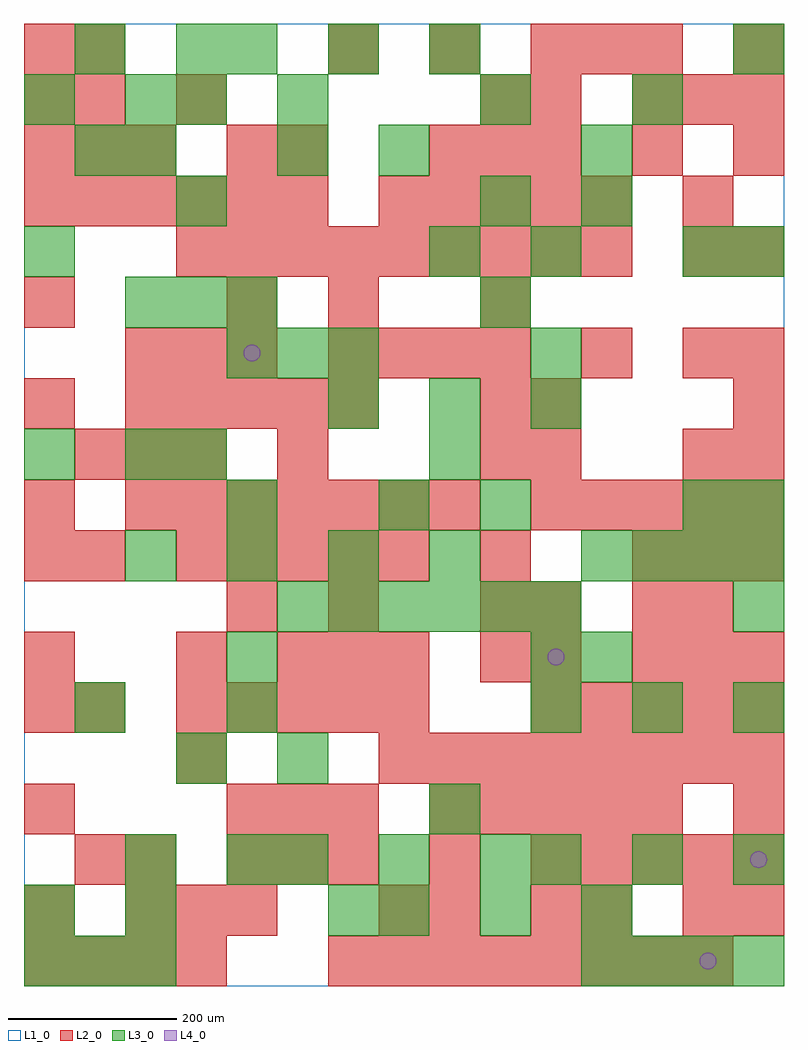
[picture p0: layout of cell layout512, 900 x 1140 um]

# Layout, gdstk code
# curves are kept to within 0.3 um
import gdstk
lib = gdstk.Library(unit=1e-6, precision=1e-09)
def R(c, l, rs):  # rectangles x0, y0, x1, y1
    for r in rs: c.add(gdstk.rectangle(r[:2], r[2:], *l))
def A(c, l, x, y, w, h, nx, ny, dx, dy):  # array of equal rectangles
    R(c, l, [(x+i*dx, y+j*dy, x+i*dx+w, y+j*dy+h) for i in range(nx) for j in range(ny)])
def P(c, l, *ps):  # polygons
    for p in ps: c.add(gdstk.Polygon(p, *l))
L1_0 = (1, 0)
L2_0 = (2, 0)
L3_0 = (3, 0)
L4_0 = (4, 0)

layout512 = lib.new_cell('layout512')
R(layout512, L1_0, [(0,0,900,1140)])
A(layout512, L2_0, 0, 0, 60, 60, 4, 1, 60, 0)
A(layout512, L2_0, 360, 0, 60, 60, 8, 1, 60, 0)
A(layout512, L2_0, 0, 60, 60, 60, 1, 3, 0, 120)
A(layout512, L2_0, 120, 60, 60, 60, 3, 2, 60, 660)
A(layout512, L2_0, 60, 120, 60, 60, 1, 3, 0, 180)
A(layout512, L2_0, 240, 120, 60, 60, 3, 2, 60, 60)
A(layout512, L2_0, 600, 120, 60, 60, 5, 2, 60, 180)
A(layout512, L2_0, 480, 180, 60, 60, 5, 1, 60, 0)
A(layout512, L2_0, 420, 240, 60, 60, 8, 1, 60, 0)
A(layout512, L2_0, 180, 300, 60, 60, 5, 2, 60, 180)
A(layout512, L2_0, 300, 360, 60, 60, 3, 1, 60, 0)
A(layout512, L2_0, 540, 360, 60, 60, 1, 3, 0, 60)
A(layout512, L2_0, 720, 360, 60, 60, 3, 2, 60, 120)
A(layout512, L2_0, 0, 540, 60, 60, 1, 3, 0, 120)
A(layout512, L2_0, 120, 540, 60, 60, 7, 1, 60, 0)
A(layout512, L2_0, 600, 540, 60, 60, 5, 1, 60, 0)
A(layout512, L2_0, 60, 600, 60, 60, 3, 1, 60, 0)
A(layout512, L2_0, 780, 600, 60, 60, 1, 3, 0, 120)
A(layout512, L2_0, 840, 600, 60, 60, 1, 3, 0, 60)
A(layout512, L2_0, 120, 660, 60, 60, 5, 1, 60, 0)
A(layout512, L2_0, 360, 720, 60, 60, 4, 1, 60, 0)
A(layout512, L2_0, 180, 840, 60, 60, 9, 1, 60, 0)
A(layout512, L2_0, 840, 840, 60, 60, 1, 3, 0, 120)
A(layout512, L2_0, 0, 900, 60, 60, 6, 1, 60, 0)
A(layout512, L2_0, 420, 900, 60, 60, 5, 1, 60, 0)
A(layout512, L2_0, 0, 960, 60, 60, 3, 1, 60, 0)
A(layout512, L2_0, 480, 960, 60, 60, 3, 1, 60, 0)
A(layout512, L2_0, 720, 1020, 60, 60, 3, 1, 60, 0)
A(layout512, L2_0, 360, 1080, 60, 60, 3, 1, 120, 0)
R(layout512, L2_0, [(420,60,480,120), (480,60,540,120), (600,60,660,120), (660,60,720,120), (780,60,840,120), (840,60,900,120), (120,120,180,180), (480,120,540,180), (840,180,900,240), (180,240,240,300), (0,360,60,420), (180,360,240,420), (600,360,660,420), (240,420,300,480), (360,420,420,480), (600,420,660,480), (720,420,780,480), (780,420,840,480), (0,480,60,540), (300,600,360,660), (540,600,600,660), (600,600,660,660), (540,660,600,720), (600,660,660,720), (660,720,720,780), (240,780,300,840), (360,780,420,840), (540,780,600,840), (780,900,840,960), (240,960,300,1020), (300,960,360,1020), (720,960,780,1020), (0,1020,60,1080), (60,1020,120,1080), (180,1020,240,1080), (540,1020,600,1080), (600,1020,660,1080), (0,1080,60,1140), (60,1080,120,1140), (660,1080,720,1140), (720,1080,780,1140)])
A(layout512, L3_0, 0, 0, 60, 60, 3, 1, 60, 0)
A(layout512, L3_0, 660, 0, 60, 60, 4, 2, 60, 480)
A(layout512, L3_0, 420, 60, 60, 60, 3, 1, 120, 0)
A(layout512, L3_0, 300, 120, 60, 60, 3, 1, 120, 0)
A(layout512, L3_0, 600, 120, 60, 60, 3, 2, 120, 180)
A(layout512, L3_0, 300, 420, 60, 60, 6, 1, 60, 0)
A(layout512, L3_0, 120, 480, 60, 60, 4, 1, 120, 0)
A(layout512, L3_0, 360, 660, 60, 60, 3, 1, 120, 0)
A(layout512, L3_0, 240, 720, 60, 60, 3, 1, 60, 0)
A(layout512, L3_0, 120, 780, 60, 60, 3, 1, 60, 0)
A(layout512, L3_0, 540, 780, 60, 60, 1, 3, 0, 120)
A(layout512, L3_0, 240, 1080, 60, 60, 3, 1, 120, 0)
R(layout512, L3_0, [(0,60,60,120), (120,60,180,120), (360,60,420,120), (120,120,180,180), (240,120,300,180), (480,180,540,240), (180,240,240,300), (300,240,360,300), (60,300,120,360), (240,300,300,360), (240,360,300,420), (600,360,660,420), (660,360,720,420), (840,420,900,480), (240,540,300,600), (420,540,480,600), (540,540,600,600), (780,540,840,600), (840,540,900,600), (0,600,60,660), (120,600,180,660), (180,600,240,660), (480,600,540,660), (600,720,660,780), (0,840,60,900), (480,840,540,900), (600,840,660,900), (780,840,840,900), (840,840,900,900), (180,900,240,960), (660,900,720,960), (60,960,120,1020), (120,960,180,1020), (300,960,360,1020), (420,960,480,1020), (660,960,720,1020), (0,1020,60,1080), (120,1020,180,1080), (180,1020,240,1080), (300,1020,360,1080), (720,1020,780,1080), (60,1080,120,1140), (180,1080,240,1140), (840,1080,900,1140)])
P(layout512, L4_0, [(280,750),(279.239,753.827),(277.071,757.071),(273.827,759.239),(270,760),(266.173,759.239),(262.929,757.071),(260.761,753.827),(260,750),(260.761,746.173),(262.929,742.929),(266.173,740.761),(270,740),(273.827,740.761),(277.071,742.929),(279.239,746.173)],
  [(640,390),(639.239,393.827),(637.071,397.071),(633.827,399.239),(630,400),(626.173,399.239),(622.929,397.071),(620.761,393.827),(620,390),(620.761,386.173),(622.929,382.929),(626.173,380.761),(630,380),(633.827,380.761),(637.071,382.929),(639.239,386.173)],
  [(820,30),(819.239,33.827),(817.071,37.071),(813.827,39.239),(810,40),(806.173,39.239),(802.929,37.071),(800.761,33.827),(800,30),(800.761,26.173),(802.929,22.929),(806.173,20.761),(810,20),(813.827,20.761),(817.071,22.929),(819.239,26.173)],
  [(880,150),(879.239,153.827),(877.071,157.071),(873.827,159.239),(870,160),(866.173,159.239),(862.929,157.071),(860.761,153.827),(860,150),(860.761,146.173),(862.929,142.929),(866.173,140.761),(870,140),(873.827,140.761),(877.071,142.929),(879.239,146.173)])

lib.write_gds('layout512.gds')
